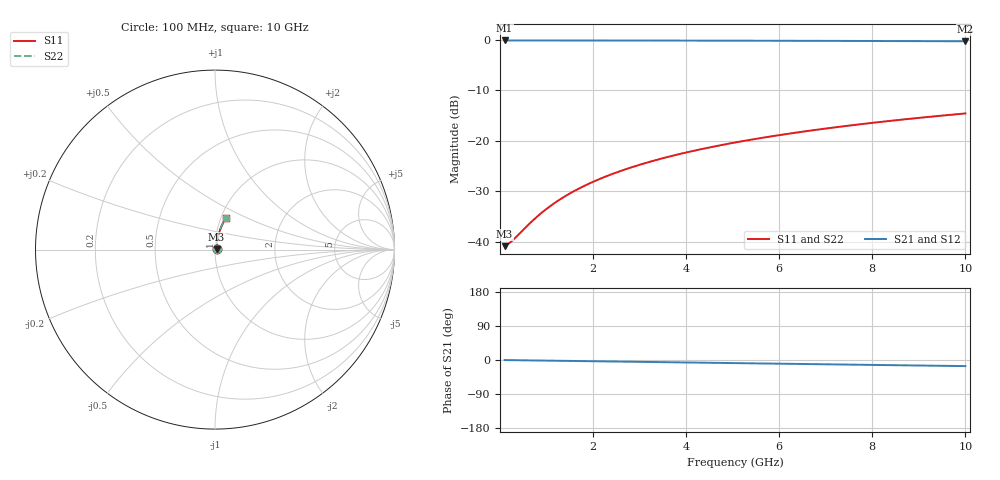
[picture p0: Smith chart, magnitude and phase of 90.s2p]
# Hz S RI R 50.00
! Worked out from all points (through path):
!   100 points, 100 MHz to 10 GHz, reference 50 ohm
!   highest |S21| = -0.08 dB at 100 MHz (marker M1); lowest = -0.2 dB at 10 GHz (marker M2)
!   group delay of S21, straight-line fit = 4.48 ps
!   lowest |S11| = -40.9 dB at 100 MHz (marker M3), VSWR 1.02, Z = 50.9 + j0.192 ohm
!   |S11| at or under -10 dB: start of sweep to end of sweep
!   |S22| runs from -40.9 to -14.6 dB; largest |S21 - S12| = 0
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1e8  0.00884 0.00189  0.9912 -0.00281  0.9912 -0.00281  0.00884 0.00189
2e8  0.00892 0.00377  0.9911 -0.00563  0.9911 -0.00563  0.00892 0.00377
3e8  0.00898 0.00566  0.991 -0.00844  0.991 -0.00844  0.00898 0.00566
7e8  0.00931 0.0132  0.9907 -0.0197  0.9907 -0.0197  0.00931 0.0132
8e8  0.00941 0.0151  0.9906 -0.0225  0.9906 -0.0225  0.00941 0.0151
1e9  0.00964 0.0188  0.9903 -0.0281  0.9903 -0.0281  0.00964 0.0188
1.2e9  0.00991 0.0226  0.99 -0.0337  0.99 -0.0337  0.00991 0.0226
1.4e9  0.0102 0.0264  0.9897 -0.0394  0.9897 -0.0394  0.0102 0.0264
1.6e9  0.0106 0.0301  0.9893 -0.045  0.9893 -0.045  0.0106 0.0301
1.8e9  0.011 0.0338  0.9889 -0.0506  0.9889 -0.0506  0.011 0.0338
2.1e9  0.0116 0.0395  0.9882 -0.059  0.9882 -0.059  0.0116 0.0395
2.5e9  0.0126 0.0469  0.9871 -0.0701  0.9871 -0.0701  0.0126 0.0469
2.9e9  0.0138 0.0543  0.9858 -0.0813  0.9858 -0.0813  0.0138 0.0543
3.4e9  0.0155 0.0636  0.9839 -0.0952  0.9839 -0.0952  0.0155 0.0636
3.8e9  0.0171 0.0709  0.9822 -0.1063  0.9822 -0.1063  0.0171 0.0709
4.2e9  0.0188 0.0782  0.9804 -0.1173  0.9804 -0.1173  0.0188 0.0782
5.1e9  0.0233 0.0945  0.9755 -0.1419  0.9755 -0.1419  0.0233 0.0945
5.9e9  0.0279 0.1087  0.9705 -0.1636  0.9705 -0.1636  0.0279 0.1087
6.7e9  0.0332 0.1227  0.9648 -0.1851  0.9648 -0.1851  0.0332 0.1227
7.5e9  0.0391 0.1363  0.9584 -0.2062  0.9584 -0.2062  0.0391 0.1363
8.4e9  0.0464 0.1513  0.9505 -0.2297  0.9505 -0.2297  0.0464 0.1513
1e10  0.0611 0.1769  0.9344 -0.2703  0.9344 -0.2703  0.0611 0.1769
